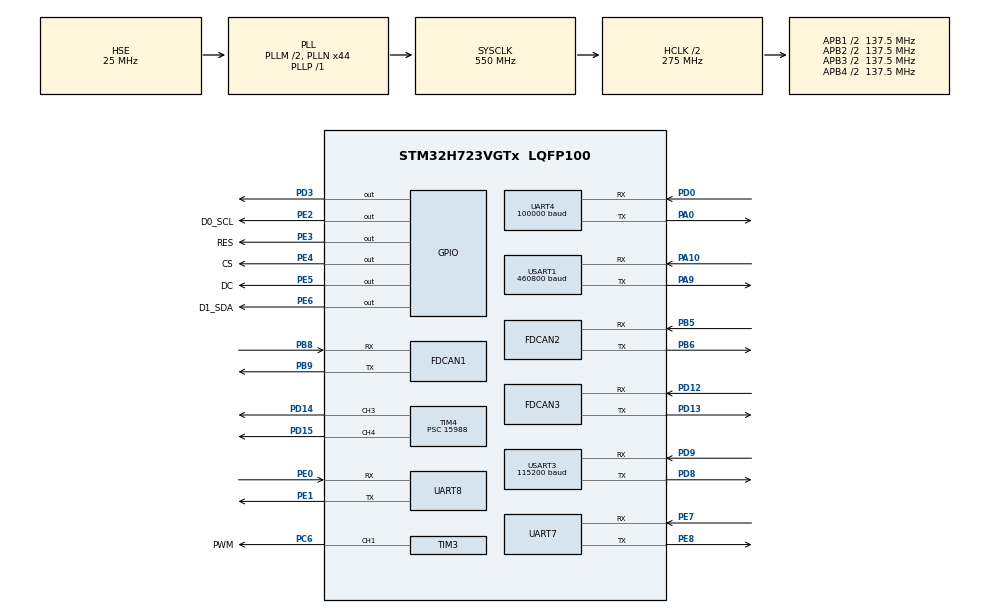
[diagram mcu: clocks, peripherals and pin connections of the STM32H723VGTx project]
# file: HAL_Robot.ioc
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Dma.Request0=USART1_RX
Dma.Request1=USART1_TX
Dma.Request10=USART3_TX
Dma.Request2=TIM3_CH1
Dma.Request3=UART4_RX
Dma.Request4=UART4_TX
Dma.Request5=UART7_RX
Dma.Request6=UART7_TX
Dma.Request7=UART8_RX
Dma.Request8=UART8_TX
Dma.Request9=USART3_RX
Dma.TIM3_CH1.2.Direction=DMA_MEMORY_TO_PERIPH
Dma.TIM3_CH1.2.EventEnable=DISABLE
Dma.TIM3_CH1.2.FIFOMode=DMA_FIFOMODE_DISABLE
Dma.TIM3_CH1.2.Instance=DMA1_Stream6
Dma.TIM3_CH1.2.MemDataAlignment=DMA_MDATAALIGN_HALFWORD
Dma.TIM3_CH1.2.MemInc=DMA_MINC_ENABLE
Dma.TIM3_CH1.2.Mode=DMA_NORMAL
Dma.TIM3_CH1.2.PeriphDataAlignment=DMA_PDATAALIGN_HALFWORD
Dma.TIM3_CH1.2.PeriphInc=DMA_PINC_DISABLE
Dma.TIM3_CH1.2.Polarity=HAL_DMAMUX_REQ_GEN_RISING
Dma.TIM3_CH1.2.Priority=DMA_PRIORITY_VERY_HIGH
Dma.TIM3_CH1.2.RequestNumber=1
Dma.TIM3_CH1.2.SignalID=NONE
Dma.TIM3_CH1.2.SyncEnable=DISABLE
Dma.TIM3_CH1.2.SyncPolarity=HAL_DMAMUX_SYNC_NO_EVENT
Dma.TIM3_CH1.2.SyncRequestNumber=1
Dma.TIM3_CH1.2.SyncSignalID=NONE
Dma.UART4_RX.3.Direction=DMA_PERIPH_TO_MEMORY
Dma.UART4_RX.3.EventEnable=DISABLE
Dma.UART4_RX.3.FIFOMode=DMA_FIFOMODE_DISABLE
Dma.UART4_RX.3.Instance=DMA1_Stream2
Dma.UART4_RX.3.MemDataAlignment=DMA_MDATAALIGN_BYTE
Dma.UART4_RX.3.MemInc=DMA_MINC_ENABLE
Dma.UART4_RX.3.Mode=DMA_CIRCULAR
Dma.UART4_RX.3.PeriphDataAlignment=DMA_PDATAALIGN_BYTE
Dma.UART4_RX.3.PeriphInc=DMA_PINC_DISABLE
Dma.UART4_RX.3.Polarity=HAL_DMAMUX_REQ_GEN_RISING
Dma.UART4_RX.3.Priority=DMA_PRIORITY_VERY_HIGH
Dma.UART4_RX.3.RequestNumber=1
Dma.UART4_RX.3.SignalID=NONE
Dma.UART4_RX.3.SyncEnable=DISABLE
Dma.UART4_RX.3.SyncPolarity=HAL_DMAMUX_SYNC_NO_EVENT
Dma.UART4_RX.3.SyncRequestNumber=1
Dma.UART4_RX.3.SyncSignalID=NONE
Dma.UART4_TX.4.Direction=DMA_MEMORY_TO_PERIPH
Dma.UART4_TX.4.EventEnable=DISABLE
Dma.UART4_TX.4.FIFOMode=DMA_FIFOMODE_DISABLE
Dma.UART4_TX.4.Instance=DMA1_Stream3
Dma.UART4_TX.4.MemDataAlignment=DMA_MDATAALIGN_BYTE
Dma.UART4_TX.4.MemInc=DMA_MINC_ENABLE
Dma.UART4_TX.4.Mode=DMA_NORMAL
Dma.UART4_TX.4.PeriphDataAlignment=DMA_PDATAALIGN_BYTE
Dma.UART4_TX.4.PeriphInc=DMA_PINC_DISABLE
Dma.UART4_TX.4.Polarity=HAL_DMAMUX_REQ_GEN_RISING
Dma.UART4_TX.4.Priority=DMA_PRIORITY_VERY_HIGH
Dma.UART4_TX.4.RequestNumber=1
Dma.UART4_TX.4.SignalID=NONE
Dma.UART4_TX.4.SyncEnable=DISABLE
Dma.UART4_TX.4.SyncPolarity=HAL_DMAMUX_SYNC_NO_EVENT
Dma.UART4_TX.4.SyncRequestNumber=1
Dma.UART4_TX.4.SyncSignalID=NONE
Dma.UART7_RX.5.Direction=DMA_PERIPH_TO_MEMORY
Dma.UART7_RX.5.EventEnable=DISABLE
Dma.UART7_RX.5.FIFOMode=DMA_FIFOMODE_DISABLE
Dma.UART7_RX.5.Instance=DMA1_Stream4
Dma.UART7_RX.5.MemDataAlignment=DMA_MDATAALIGN_BYTE
Dma.UART7_RX.5.MemInc=DMA_MINC_ENABLE
Dma.UART7_RX.5.Mode=DMA_CIRCULAR
Dma.UART7_RX.5.PeriphDataAlignment=DMA_PDATAALIGN_BYTE
Dma.UART7_RX.5.PeriphInc=DMA_PINC_DISABLE
Dma.UART7_RX.5.Polarity=HAL_DMAMUX_REQ_GEN_RISING
Dma.UART7_RX.5.Priority=DMA_PRIORITY_VERY_HIGH
Dma.UART7_RX.5.RequestNumber=1
Dma.UART7_RX.5.SignalID=NONE
Dma.UART7_RX.5.SyncEnable=DISABLE
Dma.UART7_RX.5.SyncPolarity=HAL_DMAMUX_SYNC_NO_EVENT
Dma.UART7_RX.5.SyncRequestNumber=1
Dma.UART7_RX.5.SyncSignalID=NONE
Dma.UART7_TX.6.Direction=DMA_MEMORY_TO_PERIPH
Dma.UART7_TX.6.EventEnable=DISABLE
Dma.UART7_TX.6.FIFOMode=DMA_FIFOMODE_DISABLE
Dma.UART7_TX.6.Instance=DMA1_Stream5
Dma.UART7_TX.6.MemDataAlignment=DMA_MDATAALIGN_BYTE
Dma.UART7_TX.6.MemInc=DMA_MINC_ENABLE
Dma.UART7_TX.6.Mode=DMA_NORMAL
Dma.UART7_TX.6.PeriphDataAlignment=DMA_PDATAALIGN_BYTE
Dma.UART7_TX.6.PeriphInc=DMA_PINC_DISABLE
Dma.UART7_TX.6.Polarity=HAL_DMAMUX_REQ_GEN_RISING
Dma.UART7_TX.6.Priority=DMA_PRIORITY_VERY_HIGH
Dma.UART7_TX.6.RequestNumber=1
Dma.UART7_TX.6.SignalID=NONE
Dma.UART7_TX.6.SyncEnable=DISABLE
Dma.UART7_TX.6.SyncPolarity=HAL_DMAMUX_SYNC_NO_EVENT
Dma.UART7_TX.6.SyncRequestNumber=1
Dma.UART7_TX.6.SyncSignalID=NONE
Dma.UART8_RX.7.Direction=DMA_PERIPH_TO_MEMORY
Dma.UART8_RX.7.EventEnable=DISABLE
Dma.UART8_RX.7.FIFOMode=DMA_FIFOMODE_DISABLE
Dma.UART8_RX.7.Instance=DMA1_Stream7
Dma.UART8_RX.7.MemDataAlignment=DMA_MDATAALIGN_BYTE
Dma.UART8_RX.7.MemInc=DMA_MINC_ENABLE
Dma.UART8_RX.7.Mode=DMA_CIRCULAR
Dma.UART8_RX.7.PeriphDataAlignment=DMA_PDATAALIGN_BYTE
Dma.UART8_RX.7.PeriphInc=DMA_PINC_DISABLE
Dma.UART8_RX.7.Polarity=HAL_DMAMUX_REQ_GEN_RISING
Dma.UART8_RX.7.Priority=DMA_PRIORITY_VERY_HIGH
Dma.UART8_RX.7.RequestNumber=1
Dma.UART8_RX.7.SignalID=NONE
Dma.UART8_RX.7.SyncEnable=DISABLE
Dma.UART8_RX.7.SyncPolarity=HAL_DMAMUX_SYNC_NO_EVENT
Dma.UART8_RX.7.SyncRequestNumber=1
Dma.UART8_RX.7.SyncSignalID=NONE
Dma.UART8_TX.8.Direction=DMA_MEMORY_TO_PERIPH
Dma.UART8_TX.8.EventEnable=DISABLE
Dma.UART8_TX.8.FIFOMode=DMA_FIFOMODE_DISABLE
Dma.UART8_TX.8.Instance=DMA2_Stream0
Dma.UART8_TX.8.MemDataAlignment=DMA_MDATAALIGN_BYTE
Dma.UART8_TX.8.MemInc=DMA_MINC_ENABLE
Dma.UART8_TX.8.Mode=DMA_NORMAL
Dma.UART8_TX.8.PeriphDataAlignment=DMA_PDATAALIGN_BYTE
Dma.UART8_TX.8.PeriphInc=DMA_PINC_DISABLE
Dma.UART8_TX.8.Polarity=HAL_DMAMUX_REQ_GEN_RISING
Dma.UART8_TX.8.Priority=DMA_PRIORITY_VERY_HIGH
Dma.UART8_TX.8.RequestNumber=1
Dma.UART8_TX.8.SignalID=NONE
Dma.UART8_TX.8.SyncEnable=DISABLE
Dma.UART8_TX.8.SyncPolarity=HAL_DMAMUX_SYNC_NO_EVENT
Dma.UART8_TX.8.SyncRequestNumber=1
Dma.UART8_TX.8.SyncSignalID=NONE
Dma.USART1_RX.0.Direction=DMA_PERIPH_TO_MEMORY
Dma.USART1_RX.0.EventEnable=DISABLE
Dma.USART1_RX.0.FIFOMode=DMA_FIFOMODE_DISABLE
Dma.USART1_RX.0.Instance=DMA1_Stream0
Dma.USART1_RX.0.MemDataAlignment=DMA_MDATAALIGN_BYTE
Dma.USART1_RX.0.MemInc=DMA_MINC_ENABLE
Dma.USART1_RX.0.Mode=DMA_CIRCULAR
Dma.USART1_RX.0.PeriphDataAlignment=DMA_PDATAALIGN_BYTE
Dma.USART1_RX.0.PeriphInc=DMA_PINC_DISABLE
Dma.USART1_RX.0.Polarity=HAL_DMAMUX_REQ_GEN_RISING
Dma.USART1_RX.0.Priority=DMA_PRIORITY_VERY_HIGH
Dma.USART1_RX.0.RequestNumber=1
Dma.USART1_RX.0.SignalID=NONE
Dma.USART1_RX.0.SyncEnable=DISABLE
Dma.USART1_RX.0.SyncPolarity=HAL_DMAMUX_SYNC_NO_EVENT
Dma.USART1_RX.0.SyncRequestNumber=1
Dma.USART1_RX.0.SyncSignalID=NONE
Dma.USART1_TX.1.Direction=DMA_MEMORY_TO_PERIPH
Dma.USART1_TX.1.EventEnable=DISABLE
Dma.USART1_TX.1.FIFOMode=DMA_FIFOMODE_DISABLE
Dma.USART1_TX.1.Instance=DMA1_Stream1
Dma.USART1_TX.1.MemDataAlignment=DMA_MDATAALIGN_BYTE
Dma.USART1_TX.1.MemInc=DMA_MINC_ENABLE
Dma.USART1_TX.1.Mode=DMA_NORMAL
Dma.USART1_TX.1.PeriphDataAlignment=DMA_PDATAALIGN_BYTE
Dma.USART1_TX.1.PeriphInc=DMA_PINC_DISABLE
Dma.USART1_TX.1.Polarity=HAL_DMAMUX_REQ_GEN_RISING
Dma.USART1_TX.1.Priority=DMA_PRIORITY_VERY_HIGH
Dma.USART1_TX.1.RequestNumber=1
Dma.USART1_TX.1.SignalID=NONE
Dma.USART1_TX.1.SyncEnable=DISABLE
Dma.USART1_TX.1.SyncPolarity=HAL_DMAMUX_SYNC_NO_EVENT
Dma.USART1_TX.1.SyncRequestNumber=1
Dma.USART1_TX.1.SyncSignalID=NONE
Dma.USART3_RX.9.Direction=DMA_PERIPH_TO_MEMORY
Dma.USART3_RX.9.EventEnable=DISABLE
Dma.USART3_RX.9.FIFOMode=DMA_FIFOMODE_DISABLE
Dma.USART3_RX.9.Instance=DMA2_Stream1
Dma.USART3_RX.9.MemDataAlignment=DMA_MDATAALIGN_BYTE
Dma.USART3_RX.9.MemInc=DMA_MINC_ENABLE
Dma.USART3_RX.9.Mode=DMA_CIRCULAR
Dma.USART3_RX.9.PeriphDataAlignment=DMA_PDATAALIGN_BYTE
Dma.USART3_RX.9.PeriphInc=DMA_PINC_DISABLE
Dma.USART3_RX.9.Polarity=HAL_DMAMUX_REQ_GEN_RISING
Dma.USART3_RX.9.Priority=DMA_PRIORITY_VERY_HIGH
Dma.USART3_RX.9.RequestNumber=1
Dma.USART3_RX.9.SignalID=NONE
Dma.USART3_RX.9.SyncEnable=DISABLE
Dma.USART3_RX.9.SyncPolarity=HAL_DMAMUX_SYNC_NO_EVENT
Dma.USART3_RX.9.SyncRequestNumber=1
Dma.USART3_RX.9.SyncSignalID=NONE
Dma.USART3_TX.10.Direction=DMA_MEMORY_TO_PERIPH
Dma.USART3_TX.10.EventEnable=DISABLE
Dma.USART3_TX.10.FIFOMode=DMA_FIFOMODE_DISABLE
Dma.USART3_TX.10.Instance=DMA2_Stream2
Dma.USART3_TX.10.MemDataAlignment=DMA_MDATAALIGN_BYTE
Dma.USART3_TX.10.MemInc=DMA_MINC_ENABLE
Dma.USART3_TX.10.Mode=DMA_NORMAL
Dma.USART3_TX.10.PeriphDataAlignment=DMA_PDATAALIGN_BYTE
Dma.USART3_TX.10.PeriphInc=DMA_PINC_DISABLE
Dma.USART3_TX.10.Polarity=HAL_DMAMUX_REQ_GEN_RISING
Dma.USART3_TX.10.Priority=DMA_PRIORITY_VERY_HIGH
Dma.USART3_TX.10.RequestNumber=1
Dma.USART3_TX.10.SignalID=NONE
Dma.USART3_TX.10.SyncEnable=DISABLE
Dma.USART3_TX.10.SyncPolarity=HAL_DMAMUX_SYNC_NO_EVENT
Dma.USART3_TX.10.SyncRequestNumber=1
Dma.USART3_TX.10.SyncSignalID=NONE
FDCAN1.CalculateBaudRateNominal=1000000
FDCAN1.CalculateTimeBitNominal=1000
FDCAN1.CalculateTimeQuantumNominal=100.0
FDCAN1.NominalPrescaler=10
FDCAN1.NominalTimeSeg1=7
FDCAN1.NominalTimeSeg2=2
FDCAN1.RxFifo0ElmtsNbr=16
FDCAN1.TxFifoQueueElmtsNbr=8
FDCAN2.CalculateBaudRateNominal=1000000
FDCAN2.CalculateTimeBitNominal=1000
FDCAN2.CalculateTimeQuantumNominal=100.0
FDCAN2.MessageRAMOffset=180
FDCAN2.NominalPrescaler=10
FDCAN2.NominalTimeSeg1=7
FDCAN2.NominalTimeSeg2=2
FDCAN2.RxFifo0ElmtsNbr=16
FDCAN2.TxFifoQueueElmtsNbr=8
FDCAN3.CalculateBaudRateNominal=1000000
FDCAN3.CalculateTimeBitNominal=1000
FDCAN3.CalculateTimeQuantumNominal=100.0
FDCAN3.MessageRAMOffset=450
FDCAN3.NominalPrescaler=10
FDCAN3.NominalTimeSeg1=7
FDCAN3.NominalTimeSeg2=2
FDCAN3.RxFifo0ElmtsNbr=16
FDCAN3.TxFifoQueueElmtsNbr=8
FREERTOS.Tasks01=defaultTask,24,128,StartDefaultTask,Default,NULL,Dynamic,NULL,NULL;RTOSsystem_task,10,128,RTOSsystem_Task,As external,NULL,Dynamic,NULL,NULL;Gimbal_task256,13,512,Gimbal_Task,As external,NULL,Dynamic,NULL,NULL;Guard_task,14,128,Guard_Task,As external,NULL,Dynamic,NULL,NULL;Correspond_task,12,512,Correspond_Task,As external,NULL,Dynamic,NULL,NULL;Message_task,13,128,Message_Task,As external,NULL,Dynamic,NULL,NULL;CAN1_Rx_task,15,128,CAN1_Rx_Task,As external,NULL,Dynamic,NULL,NULL;CAN2_Rx_task,15,128,CAN2_Rx_Task,As external,NULL,Dynamic,NULL,NULL;Serial_Rx_task,15,128,Serial_Rx_Task,As external,NULL,Dynamic,NULL,NULL;DR16_Rx_task,15,128,DR16_Rx_Task,As external,NULL,Dynamic,NULL,NULL;CAN3_Rx_task,15,128,CAN3_Rx_Task,As external,NULL,Dynamic,NULL,NULL;Chassis_task,13,512,Chassis_Task,As external,NULL,Dynamic,NULL,NULL;UIDraw_task,11,256,UIDraw_Task,As external,NULL,Dynamic,NULL,NULL;Referee_Rx_task,15,128,Referee_Rx_Task,As external,NULL,Dynamic,NULL,NULL
Mcu.Family=STM32H7
Mcu.Name=STM32H723VGTx
Mcu.Package=LQFP100
NVIC.DMA1_Stream0_IRQn=true\:5\:0\:false\:false\:true\:false\:false\:true\:true
NVIC.DMA1_Stream1_IRQn=true\:5\:0\:false\:false\:true\:false\:false\:true\:true
NVIC.DMA1_Stream2_IRQn=true\:5\:0\:false\:false\:true\:true\:false\:true\:true
NVIC.DMA1_Stream3_IRQn=true\:5\:0\:false\:false\:true\:true\:false\:true\:true
NVIC.DMA1_Stream4_IRQn=true\:5\:0\:false\:false\:true\:true\:false\:true\:true
NVIC.DMA1_Stream5_IRQn=true\:5\:0\:false\:false\:true\:true\:false\:true\:true
NVIC.DMA1_Stream6_IRQn=true\:5\:0\:false\:false\:true\:true\:false\:true\:true
NVIC.DMA1_Stream7_IRQn=true\:5\:0\:false\:false\:true\:true\:false\:true\:true
NVIC.DMA2_Stream0_IRQn=true\:5\:0\:false\:false\:true\:true\:false\:true\:true
NVIC.DMA2_Stream1_IRQn=true\:5\:0\:false\:false\:true\:true\:false\:true\:true
NVIC.DMA2_Stream2_IRQn=true\:5\:0\:false\:false\:true\:true\:false\:true\:true
NVIC.FDCAN1_IT0_IRQn=true\:5\:0\:false\:false\:true\:true\:true\:true\:true
NVIC.FDCAN2_IT0_IRQn=true\:5\:0\:false\:false\:true\:true\:true\:true\:true
NVIC.FDCAN3_IT0_IRQn=true\:5\:0\:false\:false\:true\:true\:true\:true\:true
NVIC.PriorityGroup=NVIC_PRIORITYGROUP_4
NVIC.TIM1_UP_IRQn=true\:15\:0\:false\:false\:true\:false\:false\:true\:true
NVIC.TimeBase=TIM1_UP_IRQn
NVIC.TimeBaseIP=TIM1
NVIC.UART4_IRQn=true\:5\:0\:false\:false\:true\:true\:true\:true\:true
NVIC.UART7_IRQn=true\:5\:0\:true\:false\:true\:true\:true\:true\:true
NVIC.UART8_IRQn=true\:6\:0\:true\:false\:true\:true\:true\:true\:true
NVIC.USART1_IRQn=true\:9\:0\:true\:false\:true\:true\:true\:true\:true
NVIC.USART3_IRQn=true\:5\:0\:true\:false\:true\:true\:true\:true\:true
PA0.GPIO_Speed=GPIO_SPEED_FREQ_VERY_HIGH
PA0.Mode=Asynchronous
PA0.Signal=UART4_TX
PA10.GPIO_Speed=GPIO_SPEED_FREQ_VERY_HIGH
PA10.Mode=Asynchronous
PA10.Signal=USART1_RX
PA13(JTMS/SWDIO).Mode=Serial_Wire
PA13(JTMS/SWDIO).Signal=DEBUG_JTMS-SWDIO
PA14(JTCK/SWCLK).Mode=Serial_Wire
PA14(JTCK/SWCLK).Signal=DEBUG_JTCK-SWCLK
PA9.GPIO_Speed=GPIO_SPEED_FREQ_VERY_HIGH
PA9.Mode=Asynchronous
PA9.Signal=USART1_TX
PB5.GPIO_Speed=GPIO_SPEED_FREQ_VERY_HIGH
PB5.Mode=FDCAN_Activate
PB5.Signal=FDCAN2_RX
PB6.GPIO_Speed=GPIO_SPEED_FREQ_VERY_HIGH
PB6.Mode=FDCAN_Activate
PB6.Signal=FDCAN2_TX
PB8.GPIO_Speed=GPIO_SPEED_FREQ_VERY_HIGH
PB8.Mode=FDCAN_Activate
PB8.Signal=FDCAN1_RX
PB9.GPIO_Speed=GPIO_SPEED_FREQ_VERY_HIGH
PB9.Mode=FDCAN_Activate
PB9.Signal=FDCAN1_TX
PC6.GPIO_Label=PWM
PC6.GPIO_PuPd=GPIO_PULLUP
PC6.GPIO_Speed=GPIO_SPEED_FREQ_VERY_HIGH
PC6.Signal=S_TIM3_CH1
PC7.Signal=S_TIM3_CH2
PD0.GPIO_Speed=GPIO_SPEED_FREQ_VERY_HIGH
PD0.Mode=Asynchronous
PD0.Signal=UART4_RX
PD12.GPIO_Speed=GPIO_SPEED_FREQ_VERY_HIGH
PD12.Mode=FDCAN_Activate
PD12.Signal=FDCAN3_RX
PD13.GPIO_Speed=GPIO_SPEED_FREQ_VERY_HIGH
PD13.Mode=FDCAN_Activate
PD13.Signal=FDCAN3_TX
PD14.GPIO_ModeDefaultPP=GPIO_MODE_AF_PP
PD14.GPIO_PuPd=GPIO_NOPULL
PD14.GPIO_Speed=GPIO_SPEED_FREQ_HIGH
PD14.Signal=S_TIM4_CH3
PD15.Signal=S_TIM4_CH4
PD3.Signal=GPIO_Output
PD8.GPIO_Speed=GPIO_SPEED_FREQ_VERY_HIGH
PD8.Mode=Asynchronous
PD8.Signal=USART3_TX
PD9.GPIO_Speed=GPIO_SPEED_FREQ_VERY_HIGH
PD9.Mode=Asynchronous
PD9.Signal=USART3_RX
PE0.GPIO_Speed=GPIO_SPEED_FREQ_VERY_HIGH
PE0.Mode=Asynchronous
PE0.Signal=UART8_RX
PE1.GPIO_Speed=GPIO_SPEED_FREQ_VERY_HIGH
PE1.Mode=Asynchronous
PE1.Signal=UART8_TX
PE2.GPIO_Label=D0_SCL
PE2.Signal=GPIO_Output
PE3.GPIO_Label=RES
PE3.Signal=GPIO_Output
PE4.GPIO_Label=CS
PE4.Signal=GPIO_Output
PE5.GPIO_Label=DC
PE5.Signal=GPIO_Output
PE6.GPIO_Label=D1_SDA
PE6.Signal=GPIO_Output
PE7.GPIO_Speed=GPIO_SPEED_FREQ_VERY_HIGH
PE7.Mode=Asynchronous
PE7.Signal=UART7_RX
PE8.GPIO_Speed=GPIO_SPEED_FREQ_VERY_HIGH
PE8.Mode=Asynchronous
PE8.Signal=UART7_TX
PH0-OSC_IN.Mode=HSE-External-Oscillator
PH0-OSC_IN.Signal=RCC_OSC_IN
PH1-OSC_OUT.Mode=HSE-External-Oscillator
PH1-OSC_OUT.Signal=RCC_OSC_OUT
ProjectManager.HeapSize=0x1000
ProjectManager.StackSize=0x400
ProjectManager.TargetToolchain=MDK-ARM V5.32
RCC.ADCFreq_Value=150000000
RCC.APB1Freq_Value=137500000
RCC.APB2Freq_Value=137500000
RCC.APB3Freq_Value=137500000
RCC.APB4Freq_Value=137500000
RCC.CortexFreq_Value=550000000
RCC.D1PPRE=RCC_APB3_DIV2
RCC.D2PPRE1=RCC_APB1_DIV2
RCC.D2PPRE2=RCC_APB2_DIV2
RCC.D3PPRE=RCC_APB4_DIV2
RCC.DIVM1=2
RCC.DIVM2=5
RCC.DIVN1=44
RCC.DIVN2=60
RCC.DIVP1=1
RCC.DIVQ2=3
RCC.FDCANCLockSelection=RCC_FDCANCLKSOURCE_PLL2
RCC.HCLKFreq_Value=275000000
RCC.HPRE=RCC_HCLK_DIV2
RCC.HSE_VALUE=25000000
RCC.PLL2FRACN=0
RCC.PLL3FRACN=0
RCC.PLLFRACN=0
RCC.PLLSourceVirtual=RCC_PLLSOURCE_HSE
RCC.SYSCLKFreq_VALUE=550000000
RCC.SYSCLKSource=RCC_SYSCLKSOURCE_PLLCLK
RCC.USBFreq_Value=275000000
SH.S_TIM3_CH1.0=TIM3_CH1,PWM Generation1 CH1
SH.S_TIM3_CH2.0=TIM3_CH2
SH.S_TIM4_CH3.0=TIM4_CH3,PWM Generation3 CH3
SH.S_TIM4_CH4.0=TIM4_CH4,PWM Generation4 CH4
TIM2.Period=209
TIM2.Prescaler=0
TIM3.Channel-PWM\ Generation1\ CH1=TIM_CHANNEL_1
TIM3.Period=343
TIM3.Prescaler=0
TIM4.Channel-PWM\ Generation3\ CH3=TIM_CHANNEL_3
TIM4.Channel-PWM\ Generation4\ CH4=TIM_CHANNEL_4
TIM4.Period=343
TIM4.Prescaler=15988
UART4.BaudRate=100000
USART1.BaudRate=460800
USART1.VirtualMode-Asynchronous=VM_ASYNC
USART3.BaudRate=115200
USART3.VirtualMode-Asynchronous=VM_ASYNC
VP_FREERTOS_VS_CMSIS_V2.Mode=CMSIS_V2
VP_SYS_VS_tim1.Mode=TIM1
VP_TIM2_VS_ClockSourceINT.Mode=Internal
VP_TIM3_VS_ClockSourceINT.Mode=Internal
VP_TIM4_VS_ClockSourceINT.Mode=Internal
board=custom

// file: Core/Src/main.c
/* USER CODE BEGIN Header */
/**
 ******************************************************************************
 * @file           : main.c
 * @brief          : Main program body
 ******************************************************************************
 * @attention
 *
 * Copyright (c) 2023 STMicroelectronics.
 * All rights reserved.
 *
 * This software is licensed under terms that can be found in the LICENSE file
 * in the root directory of this software component.
 * If no LICENSE file comes with this software, it is provided AS-IS.
 *
 ******************************************************************************
 */
/* USER CODE END Header */
#include "main.h"
#include "cmsis_os.h"
#include "dma.h"
#include "fdcan.h"
#include "tim.h"
#include "usart.h"
#include "gpio.h"

/* USER CODE BEGIN Includes */
#include "protocol_dbus.h"
#include "drivers_dma.h"
#include "bsp_dwt.h"
/* USER CODE END Includes */

void SystemClock_Config(void);
void PeriphCommonClock_Config(void);
void MX_FREERTOS_Init(void);

/* USER CODE BEGIN 0 */

//void SoftWareInit(void)
//{
//	HAL_TIM_PWM_Start(&htim4,TIM_CHANNEL_3); //����PWM��Ӧ��ͨ��
//	HAL_TIM_PWM_Start(&htim4,TIM_CHANNEL_4); //����PWM��Ӧ��ͨ��
//
//	HAL_GPIO_WritePin(GPIOD,GPIO_PIN_3,GPIO_PIN_SET);
//
//}

/* USER CODE END 0 */

int main(void)
{

  /* MCU Configuration--------------------------------------------------------*/

  /* Reset of all peripherals, Initializes the Flash interface and the Systick. */

  HAL_Init();

  /* Configure the system clock */
  SystemClock_Config();

  /* Configure the peripherals common clocks */
  PeriphCommonClock_Config();

  /* Initialize all configured peripherals */
  MX_GPIO_Init();
  MX_DMA_Init();
  MX_USART1_UART_Init();
  MX_UART4_Init();
  MX_TIM2_Init();
  MX_FDCAN1_Init();
  MX_FDCAN2_Init();
  MX_FDCAN3_Init();
  MX_TIM3_Init();
  MX_UART7_Init();
  MX_UART8_Init();
  MX_USART3_UART_Init();
  MX_TIM4_Init();
  /* USER CODE BEGIN 2 */
  //SoftWareInit();
	DWT_Init(550);
  /* USER CODE END 2 */

  /* Init scheduler */
  osKernelInitialize();

  /* Call init function for freertos objects (in cmsis_os2.c) */
  MX_FREERTOS_Init();

  /* Start scheduler */
  osKernelStart();

  /* We should never get here as control is now taken by the scheduler */

  /* Infinite loop */
  while (1)
  {

  }
}

void SystemClock_Config(void)
{
  RCC_OscInitTypeDef RCC_OscInitStruct = {0};
  RCC_ClkInitTypeDef RCC_ClkInitStruct = {0};

  /** Supply configuration update enable
  */
  HAL_PWREx_ConfigSupply(PWR_LDO_SUPPLY);

  /** Configure the main internal regulator output voltage
  */
  __HAL_PWR_VOLTAGESCALING_CONFIG(PWR_REGULATOR_VOLTAGE_SCALE0);

  while(!__HAL_PWR_GET_FLAG(PWR_FLAG_VOSRDY)) {}

  /** Initializes the RCC Oscillators according to the specified parameters
  * in the RCC_OscInitTypeDef structure.
  */
  RCC_OscInitStruct.OscillatorType = RCC_OSCILLATORTYPE_HSE;
  RCC_OscInitStruct.HSEState = RCC_HSE_ON;
  RCC_OscInitStruct.PLL.PLLState = RCC_PLL_ON;
  RCC_OscInitStruct.PLL.PLLSource = RCC_PLLSOURCE_HSE;
  RCC_OscInitStruct.PLL.PLLM = 2;
  RCC_OscInitStruct.PLL.PLLN = 44;
  RCC_OscInitStruct.PLL.PLLP = 1;
  RCC_OscInitStruct.PLL.PLLQ = 2;
  RCC_OscInitStruct.PLL.PLLR = 2;
  RCC_OscInitStruct.PLL.PLLRGE = RCC_PLL1VCIRANGE_3;
  RCC_OscInitStruct.PLL.PLLVCOSEL = RCC_PLL1VCOWIDE;
  RCC_OscInitStruct.PLL.PLLFRACN = 0;
  if (HAL_RCC_OscConfig(&RCC_OscInitStruct) != HAL_OK)
  {
    Error_Handler();
  }

  /** Initializes the CPU, AHB and APB buses clocks
  */
  RCC_ClkInitStruct.ClockType = RCC_CLOCKTYPE_HCLK|RCC_CLOCKTYPE_SYSCLK
                              |RCC_CLOCKTYPE_PCLK1|RCC_CLOCKTYPE_PCLK2
                              |RCC_CLOCKTYPE_D3PCLK1|RCC_CLOCKTYPE_D1PCLK1;
  RCC_ClkInitStruct.SYSCLKSource = RCC_SYSCLKSOURCE_PLLCLK;
  RCC_ClkInitStruct.SYSCLKDivider = RCC_SYSCLK_DIV1;
  RCC_ClkInitStruct.AHBCLKDivider = RCC_HCLK_DIV2;
  RCC_ClkInitStruct.APB3CLKDivider = RCC_APB3_DIV2;
  RCC_ClkInitStruct.APB1CLKDivider = RCC_APB1_DIV2;
  RCC_ClkInitStruct.APB2CLKDivider = RCC_APB2_DIV2;
  RCC_ClkInitStruct.APB4CLKDivider = RCC_APB4_DIV2;

  if (HAL_RCC_ClockConfig(&RCC_ClkInitStruct, FLASH_LATENCY_3) != HAL_OK)
  {
    Error_Handler();
  }
}

void PeriphCommonClock_Config(void)
{
  RCC_PeriphCLKInitTypeDef PeriphClkInitStruct = {0};

  /** Initializes the peripherals clock
  */
  PeriphClkInitStruct.PeriphClockSelection = RCC_PERIPHCLK_FDCAN;
  PeriphClkInitStruct.PLL2.PLL2M = 5;
  PeriphClkInitStruct.PLL2.PLL2N = 60;
  PeriphClkInitStruct.PLL2.PLL2P = 2;
  PeriphClkInitStruct.PLL2.PLL2Q = 3;
  PeriphClkInitStruct.PLL2.PLL2R = 2;
  PeriphClkInitStruct.PLL2.PLL2RGE = RCC_PLL2VCIRANGE_2;
  PeriphClkInitStruct.PLL2.PLL2VCOSEL = RCC_PLL2VCOWIDE;
  PeriphClkInitStruct.PLL2.PLL2FRACN = 0;
  PeriphClkInitStruct.FdcanClockSelection = RCC_FDCANCLKSOURCE_PLL2;
  if (HAL_RCCEx_PeriphCLKConfig(&PeriphClkInitStruct) != HAL_OK)
  {
    Error_Handler();
  }
}

void HAL_TIM_PeriodElapsedCallback(TIM_HandleTypeDef *htim)
{
  if (htim->Instance == TIM1)
  {
    HAL_IncTick();
  }
}

void Error_Handler(void)
{
  __disable_irq();
  while (1)
  {
  }
}

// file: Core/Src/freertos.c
/* USER CODE BEGIN Header */
/**
  ******************************************************************************
  * File Name          : freertos.c
  * Description        : Code for freertos applications
  ******************************************************************************
  * @attention
  *
  * Copyright (c) 2023 STMicroelectronics.
  * All rights reserved.
  *
  * This software is licensed under terms that can be found in the LICENSE file
  * in the root directory of this software component.
  * If no LICENSE file comes with this software, it is provided AS-IS.
  *
  ******************************************************************************
  */
/* USER CODE END Header */

#include "FreeRTOS.h"
#include "task.h"
#include "main.h"
#include "cmsis_os.h"

/* USER CODE BEGIN Includes */
#include "queue.h"
#include "app_preference.h"
/* USER CODE END Includes */

/* Definitions for defaultTask */
osThreadId_t defaultTaskHandle;
const osThreadAttr_t defaultTask_attributes = {
  .name = "defaultTask",
  .stack_size = 128 * 4,
  .priority = (osPriority_t) osPriorityNormal,
};
/* Definitions for RTOSsystem_task */
osThreadId_t RTOSsystem_taskHandle;
const osThreadAttr_t RTOSsystem_task_attributes = {
  .name = "RTOSsystem_task",
  .stack_size = 128 * 4,
  .priority = (osPriority_t) osPriorityLow2,
};
/* Definitions for Gimbal_task256 */
osThreadId_t Gimbal_task256Handle;
const osThreadAttr_t Gimbal_task256_attributes = {
  .name = "Gimbal_task256",
  .stack_size = 512 * 4,
  .priority = (osPriority_t) osPriorityLow5,
};
/* Definitions for Guard_task */
osThreadId_t Guard_taskHandle;
const osThreadAttr_t Guard_task_attributes = {
  .name = "Guard_task",
  .stack_size = 128 * 4,
  .priority = (osPriority_t) osPriorityLow6,
};
/* Definitions for Correspond_task */
osThreadId_t Correspond_taskHandle;
const osThreadAttr_t Correspond_task_attributes = {
  .name = "Correspond_task",
  .stack_size = 512 * 4,
  .priority = (osPriority_t) osPriorityLow4,
};
/* Definitions for Message_task */
osThreadId_t Message_taskHandle;
const osThreadAttr_t Message_task_attributes = {
  .name = "Message_task",
  .stack_size = 128 * 4,
  .priority = (osPriority_t) osPriorityLow5,
};
/* Definitions for CAN1_Rx_task */
osThreadId_t CAN1_Rx_taskHandle;
const osThreadAttr_t CAN1_Rx_task_attributes = {
  .name = "CAN1_Rx_task",
  .stack_size = 128 * 4,
  .priority = (osPriority_t) osPriorityLow7,
};
/* Definitions for CAN2_Rx_task */
osThreadId_t CAN2_Rx_taskHandle;
const osThreadAttr_t CAN2_Rx_task_attributes = {
  .name = "CAN2_Rx_task",
  .stack_size = 128 * 4,
  .priority = (osPriority_t) osPriorityLow7,
};
/* Definitions for Serial_Rx_task */
osThreadId_t Serial_Rx_taskHandle;
const osThreadAttr_t Serial_Rx_task_attributes = {
  .name = "Serial_Rx_task",
  .stack_size = 128 * 4,
  .priority = (osPriority_t) osPriorityLow7,
};
/* Definitions for DR16_Rx_task */
osThreadId_t DR16_Rx_taskHandle;
const osThreadAttr_t DR16_Rx_task_attributes = {
  .name = "DR16_Rx_task",
  .stack_size = 128 * 4,
  .priority = (osPriority_t) osPriorityLow7,
};
/* Definitions for CAN3_Rx_task */
osThreadId_t CAN3_Rx_taskHandle;
const osThreadAttr_t CAN3_Rx_task_attributes = {
  .name = "CAN3_Rx_task",
  .stack_size = 128 * 4,
  .priority = (osPriority_t) osPriorityLow7,
};
/* Definitions for Chassis_task */
osThreadId_t Chassis_taskHandle;
const osThreadAttr_t Chassis_task_attributes = {
  .name = "Chassis_task",
  .stack_size = 512 * 4,
  .priority = (osPriority_t) osPriorityLow5,
};
/* Definitions for UIDraw_task */
osThreadId_t UIDraw_taskHandle;
const osThreadAttr_t UIDraw_task_attributes = {
  .name = "UIDraw_task",
  .stack_size = 256 * 4,
  .priority = (osPriority_t) osPriorityLow3,
};
/* Definitions for Referee_Rx_task */
osThreadId_t Referee_Rx_taskHandle;
const osThreadAttr_t Referee_Rx_task_attributes = {
  .name = "Referee_Rx_task",
  .stack_size = 128 * 4,
  .priority = (osPriority_t) osPriorityLow7,
};

/* USER CODE BEGIN FunctionPrototypes */
//��Ϣ���о��
QueueHandle_t Message_Queue;
QueueHandle_t CAN1_Rx_Queue;
QueueHandle_t CAN2_Rx_Queue;
QueueHandle_t CAN3_Rx_Queue;
QueueHandle_t Serial_Rx_Queue;
QueueHandle_t Referee_Rx_Queue;
QueueHandle_t DR16_Rx_Queue;
/* USER CODE END FunctionPrototypes */

void StartDefaultTask(void *argument);
extern void RTOSsystem_Task(void *argument);
extern void Gimbal_Task(void *argument);
extern void Guard_Task(void *argument);
extern void Correspond_Task(void *argument);
extern void Message_Task(void *argument);
extern void CAN1_Rx_Task(void *argument);
extern void CAN2_Rx_Task(void *argument);
extern void Serial_Rx_Task(void *argument);
extern void DR16_Rx_Task(void *argument);
extern void CAN3_Rx_Task(void *argument);
extern void Chassis_Task(void *argument);
extern void UIDraw_Task(void *argument);
extern void Referee_Rx_Task(void *argument);

void MX_FREERTOS_Init(void); /* (MISRA C 2004 rule 8.1) */

void MX_FREERTOS_Init(void) {

  /* USER CODE BEGIN RTOS_QUEUES */
  /* add queues, ... */
	Message_Queue = xQueueCreate(8, sizeof(ID_Data_t));
	CAN1_Rx_Queue = xQueueCreate(8, sizeof(ID_Data_t));
	CAN2_Rx_Queue = xQueueCreate(8, sizeof(ID_Data_t));
	CAN3_Rx_Queue = xQueueCreate(8, sizeof(ID_Data_t));
	Serial_Rx_Queue = xQueueCreate(4, sizeof(ID_Data_t));
	Referee_Rx_Queue = xQueueCreate(2, sizeof(ID_Data_t));
	DR16_Rx_Queue = xQueueCreate(2, sizeof(ID_Data_t));
  /* USER CODE END RTOS_QUEUES */

  /* Create the thread(s) */
  /* creation of defaultTask */
  defaultTaskHandle = osThreadNew(StartDefaultTask, NULL, &defaultTask_attributes);

  /* creation of RTOSsystem_task */
  RTOSsystem_taskHandle = osThreadNew(RTOSsystem_Task, NULL, &RTOSsystem_task_attributes);

  /* creation of Gimbal_task256 */
  Gimbal_task256Handle = osThreadNew(Gimbal_Task, NULL, &Gimbal_task256_attributes);

  /* creation of Guard_task */
  Guard_taskHandle = osThreadNew(Guard_Task, NULL, &Guard_task_attributes);

  /* creation of Correspond_task */
  Correspond_taskHandle = osThreadNew(Correspond_Task, NULL, &Correspond_task_attributes);

  /* creation of Message_task */
  Message_taskHandle = osThreadNew(Message_Task, NULL, &Message_task_attributes);

  /* creation of CAN1_Rx_task */
  CAN1_Rx_taskHandle = osThreadNew(CAN1_Rx_Task, NULL, &CAN1_Rx_task_attributes);

  /* creation of CAN2_Rx_task */
  CAN2_Rx_taskHandle = osThreadNew(CAN2_Rx_Task, NULL, &CAN2_Rx_task_attributes);

  /* creation of Serial_Rx_task */
  Serial_Rx_taskHandle = osThreadNew(Serial_Rx_Task, NULL, &Serial_Rx_task_attributes);

  /* creation of DR16_Rx_task */
  DR16_Rx_taskHandle = osThreadNew(DR16_Rx_Task, NULL, &DR16_Rx_task_attributes);

  /* creation of CAN3_Rx_task */
  CAN3_Rx_taskHandle = osThreadNew(CAN3_Rx_Task, NULL, &CAN3_Rx_task_attributes);

  /* creation of Chassis_task */
  Chassis_taskHandle = osThreadNew(Chassis_Task, NULL, &Chassis_task_attributes);

  /* creation of UIDraw_task */
  UIDraw_taskHandle = osThreadNew(UIDraw_Task, NULL, &UIDraw_task_attributes);

  /* creation of Referee_Rx_task */
  Referee_Rx_taskHandle = osThreadNew(Referee_Rx_Task, NULL, &Referee_Rx_task_attributes);

}

void StartDefaultTask(void *argument)
{
  for(;;)
  {
    osDelay(1);
  }
}
